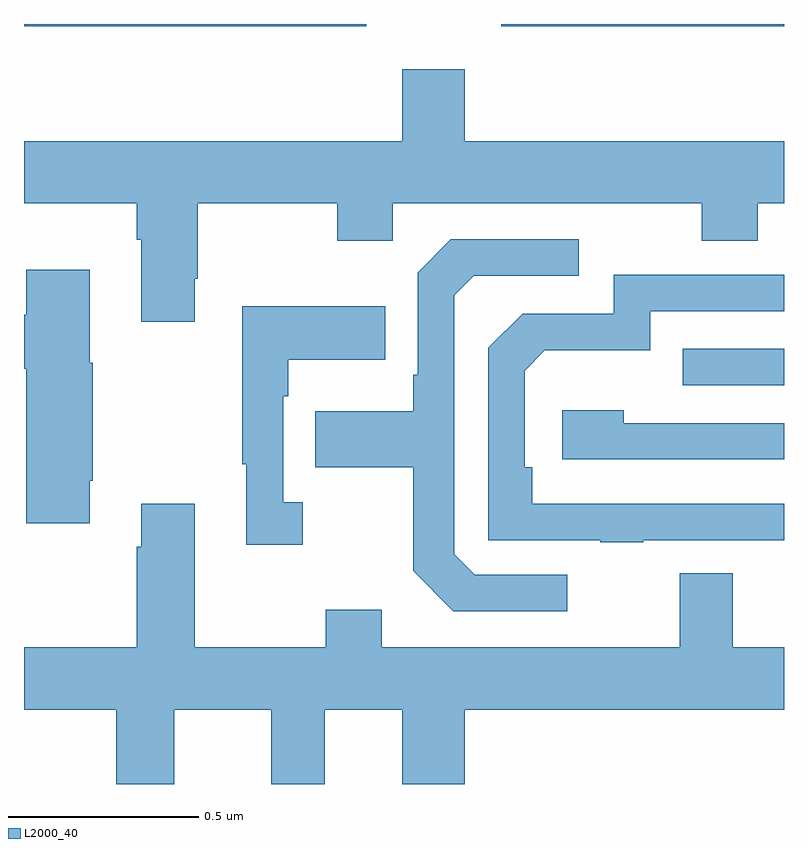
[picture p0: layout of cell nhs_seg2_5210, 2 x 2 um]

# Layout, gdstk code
import gdstk
lib = gdstk.Library(unit=1e-6, precision=1e-09)
def R(c, l, rs):  # rectangles x0, y0, x1, y1
    for r in rs: c.add(gdstk.rectangle(r[:2], r[2:], *l))
def P(c, l, *ps):  # polygons
    for p in ps: c.add(gdstk.Polygon(p, *l))
L2000_40 = (2000, 40)

nhs_seg2_5210 = lib.new_cell('nhs_seg2_5210')
R(nhs_seg2_5210, L2000_40, [(177.733,621.849,178,621.945), (176,622.794,176.9,622.8), (177.256,622.794,178,622.8)])
P(nhs_seg2_5210, L2000_40, [(176.449,622.129),(176.457,622.129),(176.457,622.328),(176.824,622.328),(176.824,622.229),(176.97,622.229),(176.97,622.328),(177.784,622.328),(177.784,622.229),(177.931,622.229),(177.931,622.328),(178,622.328),(178,622.492),(177.16,622.492),(177.16,622.681),(176.996,622.681),(176.996,622.492),(176,622.492),(176,622.328),(176.297,622.328),(176.297,622.232),(176.309,622.232),(176.309,622.017),(176.449,622.017)],
  [(177.43,621.351),(177.186,621.351),(177.132,621.405),(177.132,622.086),(177.183,622.137),(177.46,622.137),(177.46,622.233),(177.123,622.233),(177.036,622.146),(177.036,621.877),(177.024,621.877),(177.024,621.781),(176.767,621.781),(176.767,621.634),(177.024,621.634),(177.024,621.361),(177.129,621.255),(177.43,621.255)],
  [(176.173,621.598),(176.181,621.598),(176.181,621.909),(176.173,621.909),(176.173,622.153),(176.006,622.153),(176.006,622.035),(176,622.035),(176,621.893),(176.006,621.893),(176.006,621.486),(176.173,621.486)],
  [(177.629,621.441),(178,621.441),(178,621.537),(177.338,621.537),(177.338,621.634),(177.318,621.634),(177.318,621.888),(177.371,621.941),(177.648,621.941),(177.648,622.044),(178,622.044),(178,622.14),(177.552,622.14),(177.552,622.038),(177.312,622.038),(177.222,621.948),(177.222,621.441),(177.517,621.441),(177.517,621.436),(177.629,621.436)],
  [(176.734,621.542),(176.682,621.542),(176.682,621.821),(176.695,621.821),(176.695,621.917),(176.951,621.917),(176.951,622.057),(176.574,622.057),(176.574,621.641),(176.585,621.641),(176.585,621.429),(176.734,621.429)],
  [(178,621.75),(177.578,621.75),(177.578,621.784),(177.417,621.784),(177.417,621.654),(178,621.654)],
  [(176.395,620.996),(176.651,620.996),(176.651,620.8),(176.791,620.8),(176.791,620.996),(176.996,620.996),(176.996,620.8),(177.16,620.8),(177.16,620.996),(178,620.996),(178,621.16),(177.865,621.16),(177.865,621.355),(177.725,621.355),(177.725,621.16),(176.941,621.16),(176.941,621.259),(176.794,621.259),(176.794,621.16),(176.449,621.16),(176.449,621.538),(176.309,621.538),(176.309,621.425),(176.297,621.425),(176.297,621.16),(176,621.16),(176,620.996),(176.243,620.996),(176.243,620.8),(176.395,620.8)])

lib.write_gds('nhs_seg2_5210.gds')
